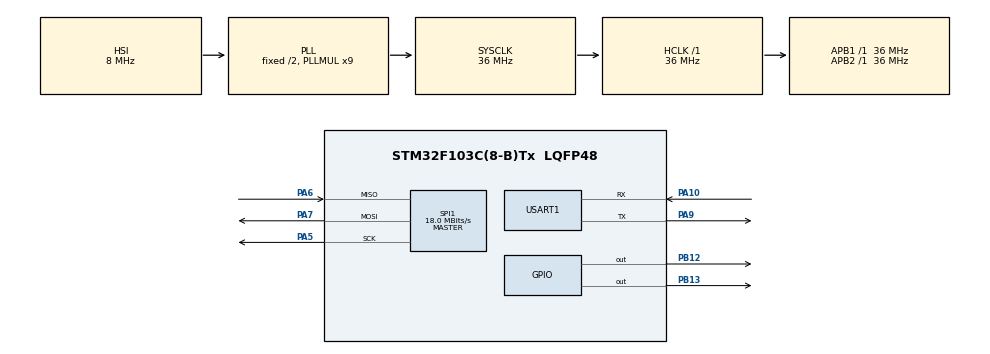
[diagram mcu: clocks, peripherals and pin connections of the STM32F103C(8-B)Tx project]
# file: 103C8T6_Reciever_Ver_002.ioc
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Mcu.Family=STM32F1
Mcu.Name=STM32F103C(8-B)Tx
Mcu.Package=LQFP48
NVIC.PriorityGroup=NVIC_PRIORITYGROUP_4
PA10.Mode=Asynchronous
PA10.Signal=USART1_RX
PA13.Mode=Serial_Wire
PA13.Signal=SYS_JTMS-SWDIO
PA14.Mode=Serial_Wire
PA14.Signal=SYS_JTCK-SWCLK
PA5.Mode=Full_Duplex_Master
PA5.Signal=SPI1_SCK
PA6.Mode=Full_Duplex_Master
PA6.Signal=SPI1_MISO
PA7.Mode=Full_Duplex_Master
PA7.Signal=SPI1_MOSI
PA9.Mode=Asynchronous
PA9.Signal=USART1_TX
PB12.Signal=GPIO_Output
PB13.Signal=GPIO_Output
PC14-OSC32_IN.Mode=LSE-External-Oscillator
PC14-OSC32_IN.Signal=RCC_OSC32_IN
PC15-OSC32_OUT.Mode=LSE-External-Oscillator
PC15-OSC32_OUT.Signal=RCC_OSC32_OUT
PD0-OSC_IN.Mode=HSE-External-Oscillator
PD0-OSC_IN.Signal=RCC_OSC_IN
PD1-OSC_OUT.Mode=HSE-External-Oscillator
PD1-OSC_OUT.Signal=RCC_OSC_OUT
ProjectManager.HeapSize=0x200
ProjectManager.StackSize=0x400
ProjectManager.TargetToolchain=STM32CubeIDE
RCC.AHBFreq_Value=36000000
RCC.APB1Freq_Value=36000000
RCC.APB1TimFreq_Value=36000000
RCC.APB2Freq_Value=36000000
RCC.APB2TimFreq_Value=36000000
RCC.HCLKFreq_Value=36000000
RCC.PLLMUL=RCC_PLL_MUL9
RCC.SYSCLKFreq_VALUE=36000000
RCC.SYSCLKSource=RCC_SYSCLKSOURCE_PLLCLK
RCC.USBFreq_Value=36000000
SPI1.CalculateBaudRate=18.0 MBits/s
SPI1.Direction=SPI_DIRECTION_2LINES
SPI1.Mode=SPI_MODE_MASTER
SPI1.VirtualType=VM_MASTER
USART1.VirtualMode=VM_ASYNC
board=custom

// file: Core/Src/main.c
/* USER CODE BEGIN Header */
/**
 ******************************************************************************
 * @file           : main.c
 * @brief          : nRF24 Receiver (STM32F103)
 ******************************************************************************
 * Wiring:
 *   PA5 -> SCK
 *   PA6 -> MISO
 *   PA7 -> MOSI
 *   PB12 -> CSN
 *   PB13 -> CE
 *
 * IMPORTANT:
 *   Receiver uses Dynamic Payload Length (DPL)
 *   Must match transmitter settings.
 *
 ******************************************************************************
 */
/* USER CODE END Header */
#include "main.h"

/* USER CODE BEGIN Includes */
#include <string.h>
#include <stdio.h>
/* USER CODE END Includes */

/* USER CODE BEGIN PTD */
/* NRF24 Pins */
#define CE_PORT    GPIOB
#define CE_PIN     GPIO_PIN_13
#define CSN_PORT   GPIOB
#define CSN_PIN    GPIO_PIN_12

#define CE_HIGH()  HAL_GPIO_WritePin(CE_PORT, CE_PIN, GPIO_PIN_SET)
#define CE_LOW()   HAL_GPIO_WritePin(CE_PORT, CE_PIN, GPIO_PIN_RESET)
#define CSN_HIGH() HAL_GPIO_WritePin(CSN_PORT, CSN_PIN, GPIO_PIN_SET)
#define CSN_LOW()  HAL_GPIO_WritePin(CSN_PORT, CSN_PIN, GPIO_PIN_RESET)

/* NRF Commands */
#define CMD_R_REGISTER       0x00
#define CMD_W_REGISTER       0x20
#define CMD_R_RX_PAYLOAD     0x61
#define CMD_FLUSH_RX         0xE2

/* NRF Registers */
#define REG_CONFIG           0x00
#define REG_EN_AA            0x01
#define REG_EN_RXADDR        0x02
#define REG_SETUP_AW         0x03
#define REG_RF_CH            0x05
#define REG_RF_SETUP         0x06
#define REG_STATUS           0x07
#define REG_RX_ADDR_P0     0x0A
#define REG_TX_ADDR        0x10      // <<< ADD THIS
#define REG_RX_PW_P0       0x11
#define REG_DYNPD            0x1C
#define REG_FEATURE          0x1D
/* USER CODE END PTD */

SPI_HandleTypeDef hspi1;

UART_HandleTypeDef huart1;

void SystemClock_Config(void);
static void MX_GPIO_Init(void);
static void MX_SPI1_Init(void);
static void MX_USART1_UART_Init(void);

/* USER CODE BEGIN 0 */
/* USER CODE BEGIN 0 */

static void UART1_Print(const char *s) {
	HAL_UART_Transmit(&huart1, (uint8_t*) s, strlen(s), HAL_MAX_DELAY);
}

/* ============================================
 SPI helpers
 ============================================ */
static uint8_t nrf_read_reg(uint8_t reg) {
	uint8_t cmd = CMD_R_REGISTER | (reg & 0x1F);
	uint8_t val = 0xFF;

	CSN_LOW();
	HAL_SPI_Transmit(&hspi1, &cmd, 1, HAL_MAX_DELAY);
	HAL_SPI_Receive(&hspi1, &val, 1, HAL_MAX_DELAY);
	CSN_HIGH();

	return val;
}

static void nrf_write_reg(uint8_t reg, uint8_t val) {
	uint8_t buf[2] = { CMD_W_REGISTER | (reg & 0x1F), val };

	CSN_LOW();
	HAL_SPI_Transmit(&hspi1, buf, 2, HAL_MAX_DELAY);
	CSN_HIGH();
}

static void nrf_write_addr(uint8_t reg, const uint8_t *addr) {
	uint8_t cmd = CMD_W_REGISTER | (reg & 0x1F);

	CSN_LOW();
	HAL_SPI_Transmit(&hspi1, &cmd, 1, HAL_MAX_DELAY);
	HAL_SPI_Transmit(&hspi1, (uint8_t*) addr, 5, HAL_MAX_DELAY);
	CSN_HIGH();
}

/* ============================================
 ENABLE DYNAMIC PAYLOAD (required for DPL)
 ============================================ */
static void nrf_activate(void) {
	uint8_t cmd[2] = { 0x50, 0x73 };

	CSN_LOW();
	HAL_SPI_Transmit(&hspi1, cmd, 2, HAL_MAX_DELAY);
	CSN_HIGH();
}

/* ============================================
 Initialize nRF24 in RX mode
 ============================================ */
static void nrf_init_rx(void) {
	CE_LOW();
	CSN_HIGH();
	HAL_Delay(5);

	uint8_t addr[5] = { 'R', 'X', 'A', 'A', 'A' };

	/* Set addresses */
	nrf_write_addr(REG_RX_ADDR_P0, addr);
	nrf_write_addr(REG_TX_ADDR, addr);

	/* RF settings */
	nrf_write_reg(REG_RF_CH, 40);      // same as TX
	nrf_write_reg(REG_RF_SETUP, 0x06); // 1 Mbps, 0 dBm

	/* Enable auto-ack + pipe 0 */
	nrf_write_reg(REG_EN_AA, 0x01);
	nrf_write_reg(REG_EN_RXADDR, 0x01);

	/* Set address width = 5 bytes */
	nrf_write_reg(REG_SETUP_AW, 0x03);

	/* --- Enable Dynamic Payload --- */
	nrf_activate();                         // required for clones
	nrf_write_reg(REG_FEATURE, 0x04);       // EN_DPL
	nrf_write_reg(REG_DYNPD, 0x01);         // dynamic payload pipe 0

	/* CONFIG -> RX mode */
	nrf_write_reg(REG_CONFIG, 0x0F);        // PWR_UP + PRIM_RX + CRC
	HAL_Delay(5);

	/* Clear interrupts */
	nrf_write_reg(REG_STATUS, 0x70);

	CE_HIGH();
	HAL_Delay(5);

	UART1_Print("NRF24 RX READY (DPL ENABLED)\r\n");
}

/* ============================================
 Read RX Payload (dynamic)
 ============================================ */
static uint8_t nrf_read_payload(uint8_t *data) {
	uint8_t cmd = CMD_R_RX_PAYLOAD;

	CSN_LOW();
	HAL_SPI_Transmit(&hspi1, &cmd, 1, HAL_MAX_DELAY);
	HAL_SPI_Receive(&hspi1, data, 32, HAL_MAX_DELAY);
	CSN_HIGH();

	nrf_write_reg(REG_STATUS, 0x40); // Clear RX_DR

	return 1;
}

/* ============================================
 Debug dump registers
 ============================================ */
static void nrf_dump(void) {
	char msg[64];

	sprintf(msg, "CFG=%02X CH=%02X RF=%02X STAT=%02X FEAT=%02X DYN=%02X\r\n",
			nrf_read_reg(REG_CONFIG), nrf_read_reg(REG_RF_CH),
			nrf_read_reg(REG_RF_SETUP), nrf_read_reg(REG_STATUS),
			nrf_read_reg(REG_FEATURE), nrf_read_reg(REG_DYNPD));
	UART1_Print(msg);
}

/* ============================================
 Poll for received data
 ============================================ */
static void nrf_loop(void) {
	if (nrf_read_reg(REG_STATUS) & 0x40)   // RX_DR flag
			{
		uint8_t buf[33] = { 0 };
		nrf_read_payload(buf);

		UART1_Print("RX: ");
		UART1_Print((char*) buf);
		UART1_Print("\r\n");
	}
}

/* USER CODE END 0 */

/* USER CODE END 0 */

int main(void) {

	/* MCU Configuration--------------------------------------------------------*/

	/* Reset of all peripherals, Initializes the Flash interface and the Systick. */
	HAL_Init();

	/* Configure the system clock */
	SystemClock_Config();

	/* Initialize all configured peripherals */
	MX_GPIO_Init();
	MX_SPI1_Init();
	MX_USART1_UART_Init();
	/* USER CODE BEGIN 2 */
	UART1_Print("\r\n=== NRF RECEIVER START ===\r\n");

	nrf_init_rx();
	nrf_dump();
	/* USER CODE END 2 */

	/* Infinite loop */
	while (1) {

		/* USER CODE BEGIN 3 */
		nrf_loop();
		HAL_Delay(2);

	}
	/* USER CODE END 3 */
}

void SystemClock_Config(void) {
	RCC_OscInitTypeDef RCC_OscInitStruct = { 0 };
	RCC_ClkInitTypeDef RCC_ClkInitStruct = { 0 };

	/** Initializes the RCC Oscillators according to the specified parameters
	 * in the RCC_OscInitTypeDef structure.
	 */
	RCC_OscInitStruct.OscillatorType = RCC_OSCILLATORTYPE_HSI;
	RCC_OscInitStruct.HSIState = RCC_HSI_ON;
	RCC_OscInitStruct.HSICalibrationValue = RCC_HSICALIBRATION_DEFAULT;
	RCC_OscInitStruct.PLL.PLLState = RCC_PLL_ON;
	RCC_OscInitStruct.PLL.PLLSource = RCC_PLLSOURCE_HSI_DIV2;
	RCC_OscInitStruct.PLL.PLLMUL = RCC_PLL_MUL9;
	if (HAL_RCC_OscConfig(&RCC_OscInitStruct) != HAL_OK) {
		Error_Handler();
	}

	/** Initializes the CPU, AHB and APB buses clocks
	 */
	RCC_ClkInitStruct.ClockType = RCC_CLOCKTYPE_HCLK | RCC_CLOCKTYPE_SYSCLK
			| RCC_CLOCKTYPE_PCLK1 | RCC_CLOCKTYPE_PCLK2;
	RCC_ClkInitStruct.SYSCLKSource = RCC_SYSCLKSOURCE_PLLCLK;
	RCC_ClkInitStruct.AHBCLKDivider = RCC_SYSCLK_DIV1;
	RCC_ClkInitStruct.APB1CLKDivider = RCC_HCLK_DIV1;
	RCC_ClkInitStruct.APB2CLKDivider = RCC_HCLK_DIV1;

	if (HAL_RCC_ClockConfig(&RCC_ClkInitStruct, FLASH_LATENCY_1) != HAL_OK) {
		Error_Handler();
	}
}

static void MX_SPI1_Init(void) {

	/* SPI1 parameter configuration*/
	hspi1.Instance = SPI1;
	hspi1.Init.Mode = SPI_MODE_MASTER;
	hspi1.Init.Direction = SPI_DIRECTION_2LINES;
	hspi1.Init.DataSize = SPI_DATASIZE_8BIT;
	hspi1.Init.CLKPolarity = SPI_POLARITY_LOW;
	hspi1.Init.CLKPhase = SPI_PHASE_1EDGE;
	hspi1.Init.NSS = SPI_NSS_SOFT;
	hspi1.Init.BaudRatePrescaler = SPI_BAUDRATEPRESCALER_2;
	hspi1.Init.FirstBit = SPI_FIRSTBIT_MSB;
	hspi1.Init.TIMode = SPI_TIMODE_DISABLE;
	hspi1.Init.CRCCalculation = SPI_CRCCALCULATION_DISABLE;
	hspi1.Init.CRCPolynomial = 10;
	if (HAL_SPI_Init(&hspi1) != HAL_OK) {
		Error_Handler();
	}

}

static void MX_USART1_UART_Init(void) {

	huart1.Instance = USART1;
	huart1.Init.BaudRate = 115200;
	huart1.Init.WordLength = UART_WORDLENGTH_8B;
	huart1.Init.StopBits = UART_STOPBITS_1;
	huart1.Init.Parity = UART_PARITY_NONE;
	huart1.Init.Mode = UART_MODE_TX_RX;
	huart1.Init.HwFlowCtl = UART_HWCONTROL_NONE;
	huart1.Init.OverSampling = UART_OVERSAMPLING_16;
	if (HAL_UART_Init(&huart1) != HAL_OK) {
		Error_Handler();
	}

}

static void MX_GPIO_Init(void) {
	GPIO_InitTypeDef GPIO_InitStruct = { 0 };

	/* GPIO Ports Clock Enable */
	__HAL_RCC_GPIOC_CLK_ENABLE();
	__HAL_RCC_GPIOD_CLK_ENABLE();
	__HAL_RCC_GPIOA_CLK_ENABLE();
	__HAL_RCC_GPIOB_CLK_ENABLE();

	/*Configure GPIO pin Output Level */
	HAL_GPIO_WritePin(GPIOB, GPIO_PIN_12 | GPIO_PIN_13, GPIO_PIN_RESET);

	/*Configure GPIO pins : PB12 PB13 */
	GPIO_InitStruct.Pin = GPIO_PIN_12 | GPIO_PIN_13;
	GPIO_InitStruct.Mode = GPIO_MODE_OUTPUT_PP;
	GPIO_InitStruct.Pull = GPIO_NOPULL;
	GPIO_InitStruct.Speed = GPIO_SPEED_FREQ_LOW;
	HAL_GPIO_Init(GPIOB, &GPIO_InitStruct);

}

void Error_Handler(void) {
	__disable_irq();
	while (1) {
	}
}
